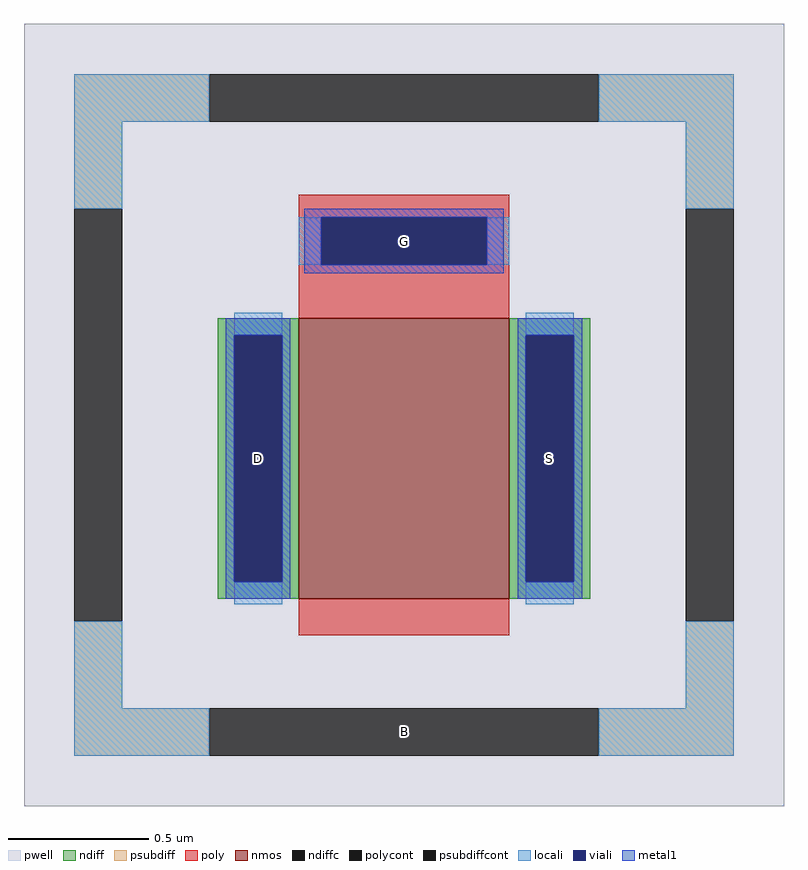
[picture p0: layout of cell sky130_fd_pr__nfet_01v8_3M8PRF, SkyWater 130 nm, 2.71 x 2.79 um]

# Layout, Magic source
magic
tech sky130A
magscale 1 2
<< pwell >>
rect -271 -279 271 279
<< nmos >>
rect -75 -131 75 69
<< ndiff >>
rect -133 57 -75 69
rect -133 -119 -121 57
rect -87 -119 -75 57
rect -133 -131 -75 -119
rect 75 57 133 69
rect 75 -119 87 57
rect 121 -119 133 57
rect 75 -131 133 -119
<< ndiffc >>
rect -121 -119 -87 57
rect 87 -119 121 57
<< psubdiff >>
rect -235 209 -139 243
rect 139 209 235 243
rect -235 147 -201 209
rect 201 147 235 209
rect -235 -209 -201 -147
rect 201 -209 235 -147
rect -235 -243 -139 -209
rect 139 -243 235 -209
<< psubdiffcont >>
rect -139 209 139 243
rect -235 -147 -201 147
rect 201 -147 235 147
rect -139 -243 139 -209
<< poly >>
rect -75 141 75 157
rect -75 107 -59 141
rect 59 107 75 141
rect -75 69 75 107
rect -75 -157 75 -131
<< polycont >>
rect -59 107 59 141
<< locali >>
rect -235 209 -139 243
rect 139 209 235 243
rect -235 147 -201 209
rect 201 147 235 209
rect -75 107 -59 141
rect 59 107 75 141
rect -121 57 -87 73
rect -121 -135 -87 -119
rect 87 57 121 73
rect 87 -135 121 -119
rect -235 -209 -201 -147
rect 201 -209 235 -147
rect -235 -243 -139 -209
rect 139 -243 235 -209
<< viali >>
rect -59 107 59 141
rect -121 -119 -87 57
rect 87 -119 121 57
<< metal1 >>
rect -71 141 71 147
rect -71 107 -59 141
rect 59 107 71 141
rect -71 101 71 107
rect -127 57 -81 69
rect -127 -119 -121 57
rect -87 -119 -81 57
rect -127 -131 -81 -119
rect 81 57 127 69
rect 81 -119 87 57
rect 121 -119 127 57
rect 81 -131 127 -119
<< labels >>
rlabel psubdiffcont 0 -226 0 -226 0 B
port 1 nsew
rlabel ndiffc -104 -31 -104 -31 0 D
port 2 nsew
rlabel ndiffc 104 -31 104 -31 0 S
port 3 nsew
rlabel polycont 0 124 0 124 0 G
port 4 nsew
<< properties >>
string FIXED_BBOX -218 -226 218 226
string gencell sky130_fd_pr__nfet_01v8
string library sky130
string parameters w 1.0 l 0.75 m 1 nf 1 diffcov 100 polycov 100 guard 1 glc 1 grc 1 gtc 1 gbc 1 tbcov 100 rlcov 100 topc 1 botc 0 poverlap 0 doverlap 1 lmin 0.15 wmin 0.42 class mosfet compatible {sky130_fd_pr__nfet_01v8 sky130_fd_pr__nfet_01v8_lvt  sky130_fd_bs_flash__special_sonosfet_star  sky130_fd_pr__nfet_g5v0d10v5 sky130_fd_pr__nfet_05v0_nvt  sky130_fd_pr__nfet_03v3_nvt} full_metal 1 viasrc 100 viadrn 100 viagate 100 viagb 0 viagr 0 viagl 0 viagt 0 doports 1
<< end >>
